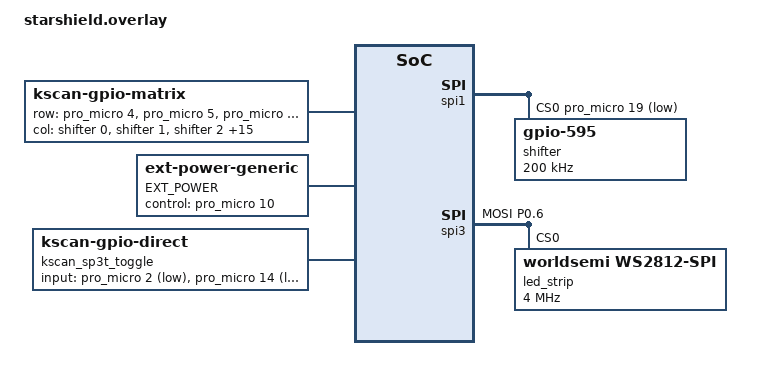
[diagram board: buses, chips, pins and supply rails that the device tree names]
/*
 * StarShield — 95 键无线机械键盘，ZMK shield 配置
 *
 * 目标板：nice!nano v2（nRF52840）
 * 矩阵：6 行 × 18 列，95 键，每个键一颗 1N4148W 二极管，col2row
 * 列驱动：3 颗 74HC595 级联（ZMK 官方 zmk,gpio-595 驱动）
 *   ⚠️ 2026-09-18 修订：原「2 颗」是电气错误 —— 2 颗只有 16 个输出位，驱动不了 18 列；
 *      ngpios=24 时驱动每轮移 24 个时钟，bit16/17 被推出链尾丢失 ⇒ COL16/17（小键盘区）失灵。
 *      位序依据 gpio_595.c：bit0..7 = 第 1 颗 QA..QH、bit8..15 = 第 2 颗、bit16..23 = 第 3 颗。
 * RGB：95 颗 SK6812MINI-E，数据链首颗数据线走 spi3（ZMK 官方做法）
 *
 * ⚠️ 引脚分配依据（见 docs/matrix-folding-analysis.md §4 与 docs/power-architecture.md）：
 *   - 官方要求：移位寄存器只能当【输出】，MCU【输入】脚必须直连
 *     （为保留按键唤醒中断）→ col2row 下【列走 595、行直连 MCU】
 *   - 官方要求：595 的 ngpios 只能取 8/16/24/32 → 18 列需 **3 颗**级联（24 位链、用前 18 位）
 *   - 595 与 WS2812 必须用【不同】SPI 外设（两者都是 SPI 从设备）
 *       595   → &spi1（MOSI P0.10 / SCK P1.13；**MISO 已在本 shield 覆盖掉** ——
 *               板级默认把 MISO 放在 P1.11 = D14，与 C1 的三档开关 MODE1 冲突，见下方 &pinctrl）
 *       WS2812 → &spi3（MOSI P0.06）
 *   - P0.13 是 nice!nano 的 VCC 门控脚（置高切断 VCC），官方就是这么省 LED 静态功耗的
 *   - 三档模式开关（C1）：D2(P0.17) / D14(P1.11) / D18(P1.15) = MODE0/MODE1/MODE2
 *
 * ⚠️ 本文件为设计稿：引脚分配已在 DTS 层面自洽，但【投板前必须用实物核对】
 *    （nice!nano 的排针 pitch/每边脚数未能从官方数字确认，仅有 Pro Micro 标准旁证）。
 */

#include <behaviors.dtsi>
#include <dt-bindings/led/led.h>
#include <dt-bindings/zmk/matrix_transform.h>
#include <dt-bindings/zmk/bt.h>
#include <dt-bindings/zmk/outputs.h>

/* 键位映射表（自动生成，内容为 &default_transform { columns/rows/map }） */
#include "starshield_transform.dtsi"

/ {
    chosen {
        zmk,kscan = &kscan0;
        zmk,underglow = &led_strip;
        /* ⚠️ ZMK 已迁移到 physical-layout 模型（官方 docs/hardware-integration/physical-layouts.md）：
           旧式 `zmk,matrix-transform = &default_transform` 不再使用，
           改为指向 physical_layout0（它聚合 kscan + transform + 按键物理位置）。
           physical_layout0 与 default_transform 定义在 starshield_transform.dtsi。 */
        zmk,physical-layout = &physical_layout0;
    };

    kscan0: kscan_0 {
        compatible = "zmk,kscan-gpio-matrix";
        label = "KSCAN";
        diode-direction = "col2row";

        /*
         * 6 个行：直连 MCU（输入，可触发中断）。
         * 用 &pro_micro N 引用 Pro Micro 排针号，而不是裸 gpio 控制器，
         * 这样换了板子（只要兼容 Pro Micro）不用改这里。
         */
        row-gpios
            = <&pro_micro 4  (GPIO_ACTIVE_HIGH | GPIO_PULL_DOWN)>   /* P0.22  D4/A6 */
            , <&pro_micro 5  (GPIO_ACTIVE_HIGH | GPIO_PULL_DOWN)>   /* P0.24  D5    */
            , <&pro_micro 6  (GPIO_ACTIVE_HIGH | GPIO_PULL_DOWN)>   /* P1.00  D6/A7 */
            , <&pro_micro 7  (GPIO_ACTIVE_HIGH | GPIO_PULL_DOWN)>   /* P0.11  D7    */
            , <&pro_micro 9  (GPIO_ACTIVE_HIGH | GPIO_PULL_DOWN)>   /* P1.06  D9/A9 */
            , <&pro_micro 8  (GPIO_ACTIVE_HIGH | GPIO_PULL_DOWN)>   /* P1.04  D8/A8 */
            ;

        /*
         * 18 个列：全部由 3 颗级联的 74HC595 驱动（MCU 输出）。
         * ngpios = 24 → 引脚号 0..17 有效，其中 0..7 在第 1 颗、8..15 在第 2 颗、
         * 16..17 在第 3 颗的 QA/QB（第 3 颗其余输出空闲）。
         */
        col-gpios
            = <&shifter  0 GPIO_ACTIVE_HIGH>
            , <&shifter  1 GPIO_ACTIVE_HIGH>
            , <&shifter  2 GPIO_ACTIVE_HIGH>
            , <&shifter  3 GPIO_ACTIVE_HIGH>
            , <&shifter  4 GPIO_ACTIVE_HIGH>
            , <&shifter  5 GPIO_ACTIVE_HIGH>
            , <&shifter  6 GPIO_ACTIVE_HIGH>
            , <&shifter  7 GPIO_ACTIVE_HIGH>
            , <&shifter  8 GPIO_ACTIVE_HIGH>
            , <&shifter  9 GPIO_ACTIVE_HIGH>
            , <&shifter 10 GPIO_ACTIVE_HIGH>
            , <&shifter 11 GPIO_ACTIVE_HIGH>
            , <&shifter 12 GPIO_ACTIVE_HIGH>
            , <&shifter 13 GPIO_ACTIVE_HIGH>
            , <&shifter 14 GPIO_ACTIVE_HIGH>
            , <&shifter 15 GPIO_ACTIVE_HIGH>
            , <&shifter 16 GPIO_ACTIVE_HIGH>
            , <&shifter 17 GPIO_ACTIVE_HIGH>
            ;
    };

    /*
     * RGB 电源门控（ZMK ext-power）。
     *
     * ⚠️ 节点名必须是 EXT_POWER，否则用户已保存的设置会丢失（ZMK 官方文档明确要求）。
     *
     * nice!nano v2 官方用 P0.13 控制 VCC 通断，极性为 GPIO_ACTIVE_HIGH：
     *   active（高）= 打开外设电源；inactive（低）= 切断
     *
     * ⚠️ 本项目的 LED 由电池直供（ADR-0007），因此【不是】直接拿 P0.13 去开关 VCC，
     *    而是用 P0.13 驱动 §5.4 的 NMOS 反相级（2N7002 + AO3401A）。
     *    反相级之后逻辑非反相，所以这里仍然是 GPIO_ACTIVE_HIGH。
     *    （若改用直接驱动 PMOS 且带栅源上拉的拓扑，则应改为 GPIO_ACTIVE_LOW。）
     */
    EXT_POWER {
        compatible = "zmk,ext-power-generic";
        control-gpios = <&pro_micro 10 GPIO_ACTIVE_HIGH>;   /* P0.09 → 反相级 → LED 轨 */
        init-delay-ms = <50>;
    };

    /*
     * 三档模式开关（C1，ADR-0009）—— SP3T C&K PCM13（原理图位号 SW96，B4 由 SW1 改名）。
     * 原理图连接（control.kicad_sch）：公共端(3) → GND；档 0/1/4 → MODE0/MODE1/MODE2。
     *   档 0（有线）  = MODE0 = D2  (P0.17)
     *   档 1（蓝牙）  = MODE1 = D14 (P1.11)
     *   档 2（2.4G）  = MODE2 = D18 (P1.15)
     *
     * 🔴 **物理档位顺序（用户 2026-09-19 定，外壳侧壁开口、与 USB-C 同一面）**：
     *   拨片**从左往右** = **2.4G / 蓝牙 / 有线**。
     *   依据：C&K PCM 手册 SP3T 连接表 `1-3 / 2-3 / 3-4` ⇒ pin3=公共端，
     *   **POS1→pin1、POS2→pin2、POS3→pin4**；PCB 上 SW96 取 **rot=180**（柄朝后壁）
     *   会把 X 镜像 ⇒ 板坐标自左向右 = POS3/POS2/POS1 = pin4/pin2/pin1
     *   = MODE2/MODE1/MODE0 = **2.4G / 蓝牙 / 有线** ✓
     *   ⚠️ **改 SW96 的 rot 或改这三条接线都会反转顺序** —— 改之前先回看这一段的推算。
     *
     * ⚠️ DT 里【不要】写 pull 标志：驱动按 GPIO_ACTIVE_LOW 自行推导 PULL_UP
     *    （kscan_gpio_direct.c 的 kscan_gpio_get_extra_flags()；ADR-0009 已核对源码；
     *      出货产品 Altar I 写了 PULL_UP 属「冗余但无害」，本项目按官方文档不写）。
     * ⚠️ wakeup-source：拨动开关本身即可把 MCU 从深度睡眠唤醒（Altar I 同款做法）。
     *
     * ⚠️ 若 C7（ESB 端点验证）通过，「2.4G」档改由 zmk-esb-endpoint 的最后 BLE profile
     *    承载 —— 档位读取方式不变，只需换 col2 的绑定。
     */
    kscan_sp3t_toggle: kscan_sp3t_toggle {
        compatible = "zmk,kscan-gpio-direct";
        toggle-mode;
        wakeup-source;

        /* ⚠️ 这里的顺序 = 原理图 MODE0/MODE1/MODE2 的**引脚号顺序**，
           不是外壳上「从左往右」的视觉顺序。
           视觉顺序（左→右 = 2.4G / 蓝牙 / 有线）由 SW96 的 rot=180 决定，
           推算见本文件顶部的「物理档位顺序」注释。 */
        input-gpios
            = <&pro_micro 2  GPIO_ACTIVE_LOW>   /* 档 0：有线  = MODE0 = D2  (P0.17) */
            , <&pro_micro 14 GPIO_ACTIVE_LOW>   /* 档 1：蓝牙  = MODE1 = D14 (P1.11) */
            , <&pro_micro 18 GPIO_ACTIVE_LOW>   /* 档 2：2.4G  = MODE2 = D18 (P1.15) */
            ;
    };

    /*
     * 档位 → 行为映射（sideband 写法，与 keymap 解耦：用户改键 / Studio 改键都不会破坏它）。
     * 照抄上游 zmk_uno.overlay 的参考实现（ADR-0009 已逐行核对 v0.3.0）。
     */
    macros {
        mode_ble_host: mode_ble_host {
            /* 蓝牙档：切到 BLE 输出 + 配对位 0（直连主机） */
            bindings = <&out OUT_BLE &bt BT_SEL 0>;
        };

        mode_dongle: mode_dongle {
            /* 2.4G 档：切到 BLE 输出 + 配对位 1（Dongle 是 BLE HID 主机，ADR-0001） */
            bindings = <&out OUT_BLE &bt BT_SEL 1>;
        };
    };

    endpoint_sideband_behaviors {
        compatible = "zmk,kscan-sideband-behaviors";
        auto-enable;
        wakeup-source;
        kscan = <&kscan_sp3t_toggle>;

        mode_col0: mode_col0 {
            column = <0>;
            bindings = <&out OUT_USB>;          /* 有线 */
        };

        mode_col1: mode_col1 {
            column = <1>;
            bindings = <&mode_ble_host>;        /* 蓝牙 */
        };

        mode_col2: mode_col2 {
            column = <2>;
            bindings = <&mode_dongle>;          /* 2.4G（Dongle） */
        };
    };
};

/*
 * 🔴 覆盖板级 spi1 的 pinctrl：**去掉 MISO**。
 *
 * nice!nano 板级 `spi1_default` 含 `SPIM_MISO = P1.11`（= Pro Micro D14），
 * 而 C1 把 **D14 定案为三档开关的 MODE1**（B2，见 §9）⇒ 直接冲突。
 * 74HC595 是**只写**器件（SER/SRCLK/RCLK 三根线），MISO 根本不接 ⇒ 显式去掉，
 * 既释放 P1.11，又省一根引脚配置。此覆盖写在本 shield 里，换板时需同步检查。
 */
&pinctrl {
    spi1_default: spi1_default {
        group1 {
            psels = <NRF_PSEL(SPIM_SCK, 1, 13)>,
                <NRF_PSEL(SPIM_MOSI, 0, 10)>;
        };
    };

    spi1_sleep: spi1_sleep {
        group1 {
            psels = <NRF_PSEL(SPIM_SCK, 1, 13)>,
                <NRF_PSEL(SPIM_MOSI, 0, 10)>;
            low-power-enable;
        };
    };
};

/* 595 走 spi1（与 WS2812 的 spi3 分开，避免两个 SPI 从设备冲突） */
&spi1 {
    status = "okay";
    /* 片选：595 的 RCLK/锁存脚。用一个空闲的 Pro Micro 脚 */
    cs-gpios = <&pro_micro 19 GPIO_ACTIVE_LOW>;             /* P0.02  D19/A1 */

    shifter: sr595@0 {
        compatible = "zmk,gpio-595";
        status = "okay";
        gpio-controller;
        #gpio-cells = <2>;
        reg = <0>;
        spi-max-frequency = <200000>;
        ngpios = <24>;      /* 3 颗 74HC595 级联（24 位链，用前 18 位驱动 COL0..17） */
    };
};

/* WS2812 数据链走 spi3（ZMK 官方对 nRF52 的推荐做法，见官方 underglow 文档） */
&pinctrl {
    spi3_default: spi3_default {
        group1 {
            psels = <NRF_PSEL(SPIM_MOSI, 0, 6)>;            /* P0.06  (Pro Micro D1) */
        };
    };

    spi3_sleep: spi3_sleep {
        group1 {
            psels = <NRF_PSEL(SPIM_MOSI, 0, 6)>;
            low-power-enable;
        };
    };
};

&spi3 {
    compatible = "nordic,nrf-spim";
    status = "okay";

    pinctrl-0 = <&spi3_default>;
    pinctrl-1 = <&spi3_sleep>;
    pinctrl-names = "default", "sleep";

    led_strip: ws2812@0 {
        compatible = "worldsemi,ws2812-spi";

        reg = <0>;                      /* 必须存在，SPI 绑定要求 */
        spi-max-frequency = <4000000>;

        chain-length = <95>;            /* StarShield = 95 颗 per-key LED */
        spi-one-frame = <0x70>;
        spi-zero-frame = <0x40>;

        /* SK6812MINI-E 为 GRB 顺序 */
        color-mapping = <LED_COLOR_ID_GREEN LED_COLOR_ID_RED LED_COLOR_ID_BLUE>;
    };
};
